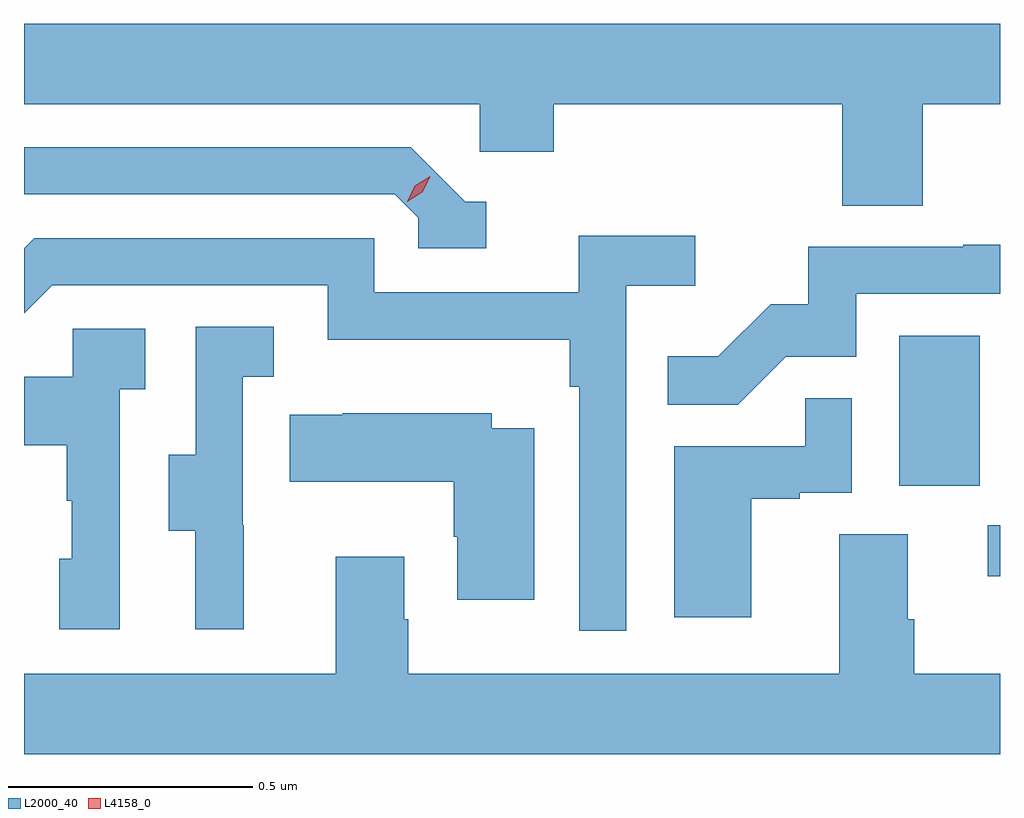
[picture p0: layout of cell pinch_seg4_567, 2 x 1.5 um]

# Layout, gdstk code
import gdstk
lib = gdstk.Library(unit=1e-6, precision=1e-09)
def R(c, l, rs):  # rectangles x0, y0, x1, y1
    for r in rs: c.add(gdstk.rectangle(r[:2], r[2:], *l))
def P(c, l, *ps):  # polygons
    for p in ps: c.add(gdstk.Polygon(p, *l))
L2000_40 = (2000, 40)
L4158_0 = (4158, 0)

pinch_seg4_567 = lib.new_cell('pinch_seg4_567')
R(pinch_seg4_567, L2000_40, [(1094.169,779.868,1094.194,779.973), (1093.988,780.054,1094.152,780.361)])
P(pinch_seg4_567, L2000_40, [(1094.036,780.836),(1094.194,780.836),(1094.194,781),(1092.194,781),(1092.194,780.836),(1093.128,780.836),(1093.128,780.738),(1093.28,780.738),(1093.28,780.836),(1093.871,780.836),(1093.871,780.628),(1094.036,780.628)],
  [(1093.141,780.636),(1093.098,780.636),(1092.987,780.747),(1092.194,780.747),(1092.194,780.651),(1092.954,780.651),(1093.002,780.603),(1093.002,780.54),(1093.141,780.54)],
  [(1093.428,780.464),(1093.57,780.464),(1093.57,780.566),(1093.331,780.566),(1093.331,780.45),(1092.912,780.45),(1092.912,780.561),(1092.215,780.561),(1092.194,780.54),(1092.194,780.407),(1092.252,780.465),(1092.816,780.465),(1092.816,780.353),(1093.312,780.353),(1093.312,780.257),(1093.332,780.257),(1093.332,779.757),(1093.428,779.757)],
  [(1093.755,780.318),(1093.899,780.318),(1093.899,780.447),(1094.194,780.447),(1094.194,780.548),(1094.119,780.548),(1094.119,780.543),(1093.801,780.543),(1093.801,780.426),(1093.724,780.426),(1093.617,780.319),(1093.513,780.319),(1093.513,780.22),(1093.657,780.22)],
  [(1092.644,779.973),(1092.642,779.973),(1092.642,780.277),(1092.706,780.277),(1092.706,780.38),(1092.546,780.38),(1092.546,780.117),(1092.491,780.117),(1092.491,779.962),(1092.545,779.962),(1092.545,779.76),(1092.644,779.76)],
  [(1092.39,780.251),(1092.442,780.251),(1092.442,780.375),(1092.294,780.375),(1092.294,780.277),(1092.194,780.277),(1092.194,780.137),(1092.282,780.137),(1092.282,780.023),(1092.292,780.023),(1092.292,779.904),(1092.266,779.904),(1092.266,779.76),(1092.39,779.76)],
  [(1093.684,780.027),(1093.784,780.027),(1093.784,780.039),(1093.89,780.039),(1093.89,780.233),(1093.795,780.233),(1093.795,780.135),(1093.526,780.135),(1093.526,779.784),(1093.684,779.784)],
  [(1093.24,780.172),(1093.153,780.172),(1093.153,780.202),(1092.847,780.202),(1092.847,780.199),(1092.739,780.199),(1092.739,780.062),(1093.075,780.062),(1093.075,779.949),(1093.082,779.949),(1093.082,779.82),(1093.24,779.82)],
  [(1094.194,779.668),(1094.018,779.668),(1094.018,779.78),(1094.005,779.78),(1094.005,779.954),(1093.865,779.954),(1093.865,779.668),(1092.981,779.668),(1092.981,779.78),(1092.973,779.78),(1092.973,779.908),(1092.833,779.908),(1092.833,779.668),(1092.194,779.668),(1092.194,779.504),(1094.194,779.504)])
P(pinch_seg4_567, L4158_0, [(1092.979,780.636),(1092.979,780.636),(1092.995,780.669),(1093.026,780.688),(1093.026,780.688),(1093.026,780.687),(1093.01,780.655),(1092.979,780.636)])

lib.write_gds('pinch_seg4_567.gds')
